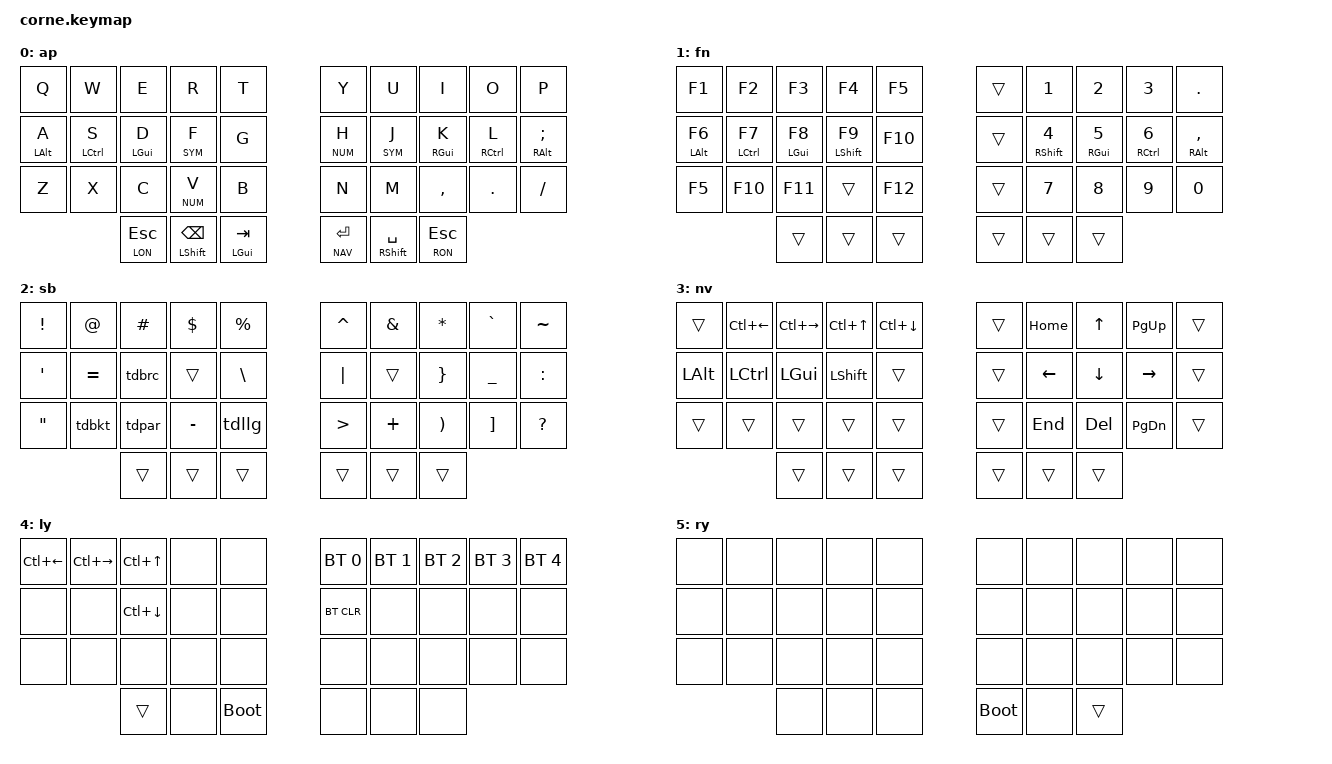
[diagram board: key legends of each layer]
/*
 * Copyright (c) 2020 The ZMK Contributors
 *
 * SPDX-License-Identifier: MIT
 */

#include <behaviors.dtsi>
#include <dt-bindings/zmk/keys.h>
#include <dt-bindings/zmk/bt.h>


#define AS(keycode) &as LS(keycode) keycode

// LAYERS
#define DEFAULT 0
#define NUM     1
#define SYM     2
#define NAV     3
#define LON     4
#define RON     5

/ {
    chosen {
      zmk,matrix_transform = &five_column_transform;
    };

    behaviors {
        as: auto_shift {
            compatible = "zmk,behavior-hold-tap";
            #binding-cells = <2>;
            tapping_term_ms = <200>;
            quick_tap_ms = <0>;
            flavor = "tap-preferred";
            bindings = <&kp>, <&kp>;
        };

        hm: homerow_mods {
            compatible = "zmk,behavior-hold-tap";
            label = "HOMEROW_MODS";
            #binding-cells = <2>;
            tapping-term-ms = <200>;
            quick-tap-ms = <0>;
            flavor = "tap-preferred";
            bindings = <&kp>, <&kp>;
        };

         hmp: homerow_mods_p {
            compatible = "zmk,behavior-hold-tap";
            label = "HOMEROW_MODS_PINKIE";
            #binding-cells = <2>;
            tapping-term-ms = <300>;
            quick-tap-ms = <0>;
            flavor = "tap-preferred";
            bindings = <&kp>, <&kp>;
        };

        tdbrc: tap_dance_brc {
            compatible = "zmk,behavior-tap-dance";
            #binding-cells = <0>;
            tapping-term-ms = <200>;
            bindings = <&kp LBRC>, <&kp RBRC>;
        };

        tdpar: tap_dance_par {
            compatible = "zmk,behavior-tap-dance";
            #binding-cells = <0>;
            tapping-term-ms = <200>;
            bindings = <&kp LPAR>, <&kp RPAR>;
        };

        tdbkt: tap_dance_bkt {
            compatible = "zmk,behavior-tap-dance";
            #binding-cells = <0>;
            tapping-term-ms = <200>;
            bindings = <&kp LBKT>, <&kp RBKT>;
        };

        tdllg: tap_dance_llg {
            compatible = "zmk,behavior-tap-dance";
            #binding-cells = <0>;
            tapping-term-ms = <200>;
            bindings = <&kp LT>, <&kp GT>;
        };

    };

        combos {
           compatible = "zmk,combos";
           combo_cword {
           layers = <0 1>;
           timeout-ms = <25>;
           key-positions = <26 28>; //  R3 | 25 26_ 27 _28 29
           bindings = <&kp CAPSLOCK>;
           };

           combo_sj {
           layers = <0 1 2>;
           timeout-ms = <25>;
           key-positions = <27 28>;  //  R3 | 25 26 27__28 29
           bindings = <&kp F18>;
           };
           
           combo_renter {
           layers = <0 1 3>;
           timeout-ms = <25>;
           key-positions = <26 27>;  //  R3 | 25 26__27 28 29
           bindings = <&kp RET>;
           };

           combo_bspc {
           layers = <0 1>;
           timeout-ms = <25>;
           key-positions = <7 8>;    //  R1 |  5 6 7__8 9
           bindings = <&kp BSPC>;
           };

           combo_resc {
           layers = <0 1>;
           timeout-ms = <25>;
           key-positions = <6 7>;    //  R1 |  5 6__7 8 9
           bindings = <&kp ESC>;
           };

           combo_lspace {
           layers = <0 1>;
           timeout-ms = <25>;
           key-positions = <22 23>;  //  L3 | 20 21 22__23 24
           bindings = <&kp SPACE>;
           };

           combo_lenter {
           layers = <0 1>;
           timeout-ms = <25>;
           key-positions = <21 22>;  //  L3 | 20 21__22 23 24
           bindings = <&kp RET>;
           };

           combo_lesc {
           layers = <0 1>;
           timeout-ms = <25>;
           key-positions = <2 3>;   //   L1 │  0 1 2__3 4
           bindings = <&kp ESC>;
           };

            /*                              36 KEY MATRIX / LAYOUT MAPPING
            ╭────────────────────┬────────────────────╮ ╭─────────────────────┬─────────────────────╮
            │  0   1   2   3   4 │  5   6   7   8   9 │ │ LT4 LT3 LT2 LT1 LT0 │ RT0 RT1 RT2 RT3 RT4 │
            │ 10  11  12  13  14 │ 15  16  17  18  19 │ │ LM4 LM3 LM2 LM1 LM0 │ RM0 RM1 RM2 RM3 RM4 │
            │ 20  21  22  23  24 │ 25  26  27  28  29 │ │ LB4 LB3 LB2 LB1 LB0 │ RB0 RB1 RB2 RB3 RB4 │
            ╰───────╮ 30  31  32 │ 33  34  35 ╭───────╯ ╰───────╮ LH2 LH1 LH0 │ RH0 RH1 RH2 ╭───────╯
                    ╰────────────┴────────────╯                 ╰─────────────┴─────────────╯             */
        
        //    combo_lexcl {
        //    layers = <2>;
        //    timeout-ms = <50>;
        //    key-positions = <1 2>;   //   L1 | 0 1 2__3 4
        //    bindings = <&kp EXCL>;
        //    };
 
           combo_sqt {
           layers = <2>;
           timeout-ms = <25>;
           key-positions = <7 8>;   //  R1 | 5 6 7__8 9
           bindings = <&kp SQT>;
           };
              
           combo_dqt {
           layers = <2>;
           timeout-ms = <25>;
           key-positions = <17 18>;  //  R2 | 15 16 17__18 19
           bindings = <&kp DQT>;
           };

           combo_rtab {
           layers = <3>;
           timeout-ms = <25>;
           key-positions = <27 28>;  //  R3 | 5 6 7__8 9
           bindings = <&kp TAB>;
           };

           //
           // cmd c v x z
           //
           combo_rcomc {
           layers = <3>;
           timeout-ms = <25>;
           key-positions = <16 17>;  //  R2 | 15 16__17 18 19
           bindings = <&kp LG(C)>;
           };

           combo_rcomv {
           layers = <3>;
           timeout-ms = <25>;
           key-positions = <17 18>;  //  R2 | 15 16 17__18 19
           bindings = <&kp LG(V)>;
           };

           combo_rcomx {
           layers = <3>;
           timeout-ms = <25>;
           key-positions = <6 7>;  //  R1 | 5 6__7 8 9
           bindings = <&kp LG(X)>;
           };

           combo_rcomz {
           layers = <3>;
           timeout-ms = <25>;
           key-positions = <7 8>;  //  R1 | 5 6 7__8 9
           bindings = <&kp LG(Z)>;
           };
           
        };
        
        keymap {
                compatible = "zmk,keymap";

                default_layer {
                                        // ----------------------------------------------------------------------
                                        // |  Q  |  W  |  E  |  R  |  T  |       |  Y  |  U   |  I   |  O   | P |
                                        // |  A  |  S  |  D  |  F  |  G  |       |  H  |  J   |  K   |  L   | ; |
                                        // |  Z  |  X  |  C  |  V  |  B  |       |  N  |  M   | ,    |  .   | / |
                                        //             | ESC |BSPC | TAB |       | RET | SPC  | ESC  |
                                        // ----------------------------------------------------------------------
                        display-name = "ap";
                        bindings = <
    &kp Q        &kp W        &kp E        &kp R             &kp T         /*     */ &kp Y         &kp U              &kp I         &kp O        &kp P
    &hmp LALT A  &hm LCTRL S  &hm LGUI D   &lt SYM F         &kp G         /*     */ &lt NUM H     &lt SYM J          &hm RGUI K    &hm RCTRL L  &hmp RALT SEMI
    &kp Z        &kp X        &kp C        &lt NUM V         &kp B         /*     */ &kp N         &kp M              &kp COMMA     &kp DOT      &kp FSLH
                              &lt LON ESC  &hm LSHIFT BSPC   &mt LGUI TAB  /*     */ &lt NAV RET   &hm RSHIFT SPACE   &lt RON ESC
                        >;
                };

                mnfn_layer {
                                       // -----------------------------------------------------------------
                                       // | F1 | F2  | F3  | F4  | F5  |       | _t |  1  |  2  |  3  |  . |
                                       // | F6 | F7  | F8  | F9  | F10 |       | _t |  4  |  5  |  6  |  , |
                                       // | F5 | F10 | F11 | _t  | F12 |       | _t |  7  |  8  |  9  |  0 |
                                       //            |     |     |     |       |    |     |     |
                                       // -----------------------------------------------------------------
                        display-name = "fn";
                        bindings = <
    &kp F1        &kp F2        &kp F3       &kp F4         &kp F5   /*     */ &trans    &kp N1        &kp N2       &kp N3        &kp  DOT
    &hmp LALT F6  &hm LCTRL F7  &hm LGUI F8  &hm LSHIFT F9  &kp F10  /*     */ &trans    &hm RSHIFT N4 &hm RGUI N5  &hm RCTRL N6  &hmp RALT COMMA
    &kp F5        &kp F10       &kp F11      &trans         &kp F12  /*     */ &trans    &kp N7        &kp N8       &kp N9        &kp  N0
                                &trans       &trans         &trans   /*     */ &trans    &trans        &trans
                        >;
                };

                sym_layer {
                                    // ---------------------------------------------------------------
                                    // | ! |  @  |  # |  $ |  % |            |  ^ |  & |  * | `  | ~ |
                                    // | ' |  =  | {} |    |  \ |            |  | |    |  } | _  | : |
                                    // | " |  [] | () | -  |  < |            |  > |  + |  ) | ]  | ? |
                                    //           |    |    |    |            |    |    |    |
                                    // ---------------------------------------------------------------
                    display-name = "sb";
                        bindings = <
     &kp EXCL  &kp AT      &kp HASH   &kp DLLR   &kp PRCNT /*     */ &kp CARET  &kp AMPS  &kp ASTERISK  &kp GRAVE   &kp TILDE
     &kp SQT   &kp EQUAL   &tdbrc     &trans     &kp BSLH  /*     */ &kp PIPE   &trans    &kp RBRC      &kp UNDER   &kp COLON
     &kp DQT   &tdbkt      &tdpar     &kp MINUS  &tdllg    /*     */ &kp GT     &kp PLUS  &kp RPAR      &kp RBKT    &kp QMARK
                           &trans     &trans     &trans    /*     */ &trans     &trans    &trans
                        >;
                };

                nav_layer {
                // ----------------------------------------------------------------------------------
                // |      | vdr-r | vdr-l | vdr-u  | vdr-d |         |     | HOM |  UP  |PG_UP|     |
                // | LALT | LCTRL | LGUI  | LSHIFT |       |         |     | LFT |  DWN | RGT |     |
                // |      |       |       |        |       |         |     | END |  DEL |PG_DN|     |
                //                |       |        |       |         |     |     |      | 
                // ----------------------------------------------------------------------------------
                        display-name = "nv";
                        bindings = <
   &trans     &kp LC(LEFT) &kp LC(RIGHT) &kp LC(UP)    &kp LC(DOWN) /*    */ &trans   &kp HOME  &kp UP    &kp PG_UP   &trans
   &kp LALT   &kp LCTRL    &kp LGUI      &kp LSHIFT    &trans       /*    */ &trans   &kp LEFT  &kp DOWN  &kp RIGHT   &trans
   &trans     &trans       &trans        &trans        &trans       /*    */ &trans   &kp END   &kp DEL   &kp PG_DN   &trans
                           &trans        &trans        &trans       /*    */ &trans   &trans    &trans
                        >;
                };

                lonly_layer {
                // --------------------------------------------------------------------------
                // | vdr-r | vdr-l | vdr-u |    |    |        | BT1 | BT2 | BT3 | BT4 | BT5 | 
                // |       |       | vdr-d |    |    |        |     | BTC |     |     |     |
                // |       |       |       |    |    |        |     |     |     |     |     |
                //                 |       |    |    |        |     |     |     |     |
                // --------------------------------------------------------------------------
                        display-name = "ly";
                        bindings = <
   &kp LC(LEFT) &kp LC(RIGHT) &kp LC(UP)    &none         &none /*    */ &bt BT_SEL 0  &bt BT_SEL 1 &bt BT_SEL 2 &bt BT_SEL 3  &bt BT_SEL 4
   &none        &none         &kp LC(DOWN)  &none         &none /*    */ &bt BT_CLR    &none        &none        &none         &none
   &none        &none         &none         &none         &none /*    */ &none         &none        &none        &none         &none
                              &trans        &none   &bootloader /*    */ &none         &none        &none
                        >;
                };
 
                ronly_layer {
                // -----------------------------------------------------------------
                // |     |     |     |     |     |        |    |    |    |    |    |
                // |     |     |     |     |     |        |    |    |    |    |    |
                // |     |     |     |     |     |        |    |    |    |    |    |
                //             |     |     |     |        |    |    |    |
                            display-name = "ry";
                            bindings = <
       &none     &none      &none     &none     &none /*    */ &none           &none      &none     &none     &none
       &none     &none      &none     &none     &none /*    */ &none           &none      &none     &none     &none
       &none     &none      &none     &none     &none /*    */ &none           &none      &none     &none     &none
                            &none     &none     &none /*    */ &bootloader     &none      &trans
                            >;
                    };
        };
};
